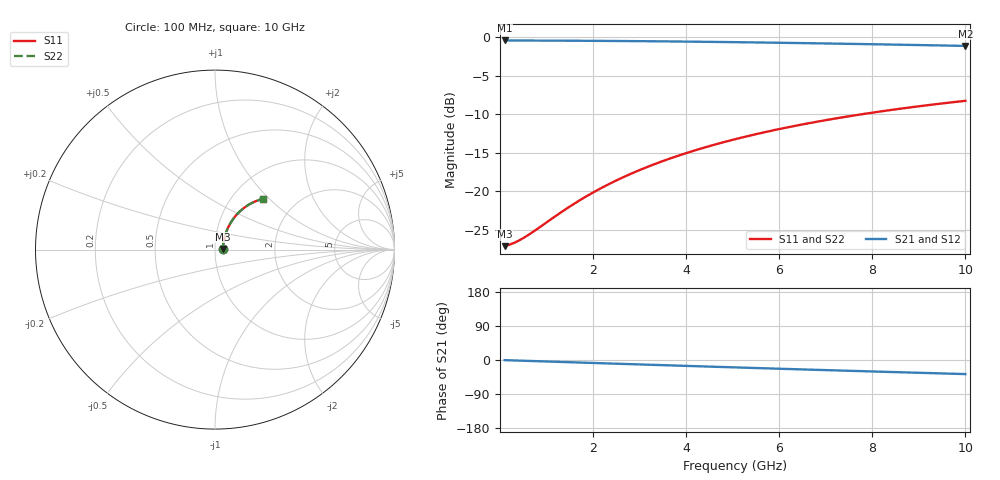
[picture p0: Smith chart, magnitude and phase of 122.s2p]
# Hz S RI R 50.00
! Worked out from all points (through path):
!   100 points, 100 MHz to 10 GHz, reference 50 ohm
!   highest |S21| = -0.39 dB at 100 MHz (marker M1); lowest = -1.1 dB at 10 GHz (marker M2)
!   group delay of S21, straight-line fit = 10.3 ps
!   lowest |S11| = -27.1 dB at 100 MHz (marker M3), VSWR 1.09, Z = 54.6 + j0.447 ohm
!   |S11| at or under -10 dB: start of sweep to 7.761 GHz
!   |S22| runs from -27.1 to -8.2 dB; largest |S21 - S12| = 0
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1e8  0.0437 0.00408  0.9563 -0.00656  0.9563 -0.00656  0.0437 0.00408
2e8  0.0441 0.00816  0.9559 -0.0131  0.9559 -0.0131  0.0441 0.00816
3e8  0.0444 0.0122  0.9555 -0.0196  0.9555 -0.0196  0.0444 0.0122
4e8  0.0448 0.0163  0.9551 -0.0262  0.9551 -0.0262  0.0448 0.0163
5e8  0.0452 0.0204  0.9547 -0.0327  0.9547 -0.0327  0.0452 0.0204
7e8  0.0461 0.0285  0.9537 -0.0458  0.9537 -0.0458  0.0461 0.0285
1.4e9  0.0508 0.0565  0.9486 -0.0911  0.9486 -0.0911  0.0508 0.0565
1.8e9  0.0545 0.0722  0.9444 -0.1168  0.9444 -0.1168  0.0545 0.0722
2.2e9  0.0591 0.0877  0.9393 -0.1421  0.9393 -0.1421  0.0591 0.0877
2.6e9  0.0645 0.1029  0.9333 -0.1672  0.9333 -0.1672  0.0645 0.1029
3e9  0.0707 0.1177  0.9265 -0.1919  0.9265 -0.1919  0.0707 0.1177
3.4e9  0.0776 0.132  0.9187 -0.2162  0.9187 -0.2162  0.0776 0.132
3.8e9  0.0852 0.1459  0.9102 -0.24  0.9102 -0.24  0.0852 0.1459
4.2e9  0.0935 0.1593  0.9008 -0.2634  0.9008 -0.2634  0.0935 0.1593
4.6e9  0.1025 0.1722  0.8908 -0.2862  0.8908 -0.2862  0.1025 0.1722
5.1e9  0.1146 0.1875  0.8771 -0.3139  0.8771 -0.3139  0.1146 0.1875
5.9e9  0.1356 0.2099  0.8533 -0.3563  0.8533 -0.3563  0.1356 0.2099
6.7e9  0.1586 0.2298  0.8271 -0.3962  0.8271 -0.3962  0.1586 0.2298
7.5e9  0.183 0.2469  0.799 -0.4334  0.799 -0.4334  0.183 0.2469
8.4e9  0.2118 0.2628  0.7655 -0.4719  0.7655 -0.4719  0.2118 0.2628
9.2e9  0.2382 0.274  0.7345 -0.5033  0.7345 -0.5033  0.2382 0.274
1e10  0.265 0.2824  0.7025 -0.532  0.7025 -0.532  0.265 0.2824
